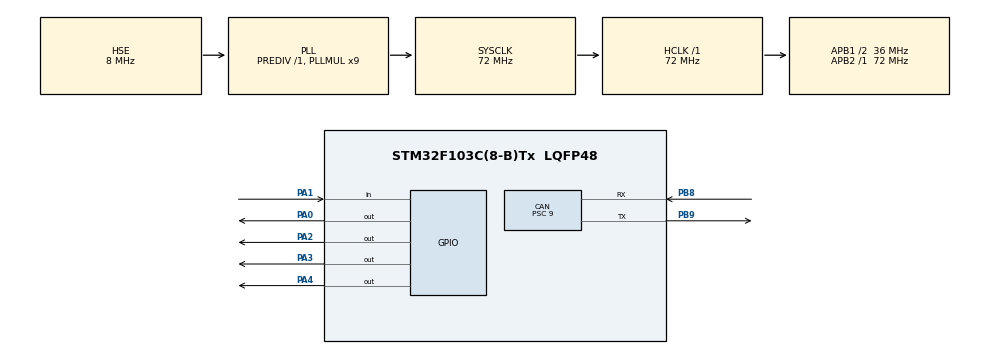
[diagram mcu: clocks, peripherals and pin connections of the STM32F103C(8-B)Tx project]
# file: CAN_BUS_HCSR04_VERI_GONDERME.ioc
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CAN.BS1=CAN_BS1_10TQ
CAN.BS2=CAN_BS2_5TQ
CAN.CalculateBaudRate=250000
CAN.CalculateTimeBit=4000
CAN.CalculateTimeQuantum=250.0
CAN.Prescaler=9
Mcu.Family=STM32F1
Mcu.Name=STM32F103C(8-B)Tx
Mcu.Package=LQFP48
NVIC.PriorityGroup=NVIC_PRIORITYGROUP_4
PA0-WKUP.Signal=GPIO_Output
PA1.Signal=GPIO_Input
PA13.Mode=Serial_Wire
PA13.Signal=SYS_JTMS-SWDIO
PA14.Mode=Serial_Wire
PA14.Signal=SYS_JTCK-SWCLK
PA2.Signal=GPIO_Output
PA3.Signal=GPIO_Output
PA4.Signal=GPIO_Output
PB8.Mode=CAN_Activate
PB8.Signal=CAN_RX
PB9.Mode=CAN_Activate
PB9.Signal=CAN_TX
PD0-OSC_IN.Mode=HSE-External-Oscillator
PD0-OSC_IN.Signal=RCC_OSC_IN
PD1-OSC_OUT.Mode=HSE-External-Oscillator
PD1-OSC_OUT.Signal=RCC_OSC_OUT
ProjectManager.HeapSize=0x200
ProjectManager.StackSize=0x400
ProjectManager.TargetToolchain=STM32CubeIDE
RCC.AHBFreq_Value=72000000
RCC.APB1CLKDivider=RCC_HCLK_DIV2
RCC.APB1Freq_Value=36000000
RCC.APB1TimFreq_Value=72000000
RCC.APB2Freq_Value=72000000
RCC.APB2TimFreq_Value=72000000
RCC.HCLKFreq_Value=72000000
RCC.PLLMUL=RCC_PLL_MUL9
RCC.PLLSourceVirtual=RCC_PLLSOURCE_HSE
RCC.SYSCLKFreq_VALUE=72000000
RCC.SYSCLKSource=RCC_SYSCLKSOURCE_PLLCLK
RCC.USBFreq_Value=72000000
board=custom

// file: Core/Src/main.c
/* USER CODE BEGIN Header */
/**
  ******************************************************************************
  * @file           : main.c
  * @brief          : Main program body
  ******************************************************************************
  * @attention
  *
  * Copyright (c) 2024 STMicroelectronics.
  * All rights reserved.
  *
  * This software is licensed under terms that can be found in the LICENSE file
  * in the root directory of this software component.
  * If no LICENSE file comes with this software, it is provided AS-IS.
  *
  ******************************************************************************
  */
/* USER CODE END Header */
#include "main.h"

/* USER CODE BEGIN Includes */
#include "dwt_stm32_delay.h"
/* USER CODE END Includes */

CAN_HandleTypeDef hcan;

/* USER CODE BEGIN PV */
uint32_t sensor_time;
uint32_t distance[2];

CAN_TxHeaderTypeDef pHeader;
uint32_t pTxMailbox;

CAN_FilterTypeDef sFilterConfig;
/* USER CODE END PV */

void SystemClock_Config(void);
static void MX_GPIO_Init(void);
static void MX_CAN_Init(void);

/* USER CODE BEGIN 0 */

uint32_t Read_HCSR04()
{
	uint32_t local_time=0;

	HAL_GPIO_WritePin(GPIOA, GPIO_PIN_0, GPIO_PIN_SET);
	DWT_Delay_us(10);
	HAL_GPIO_WritePin(GPIOA, GPIO_PIN_0, GPIO_PIN_RESET);

	while(!(HAL_GPIO_ReadPin(GPIOA, GPIO_PIN_1)));

	while(HAL_GPIO_ReadPin(GPIOA, GPIO_PIN_1))
	{
    local_time++;
    DWT_Delay_us(1);
	}

	return local_time * 2;

}

/* USER CODE END 0 */

int main(void)
{

  /* MCU Configuration--------------------------------------------------------*/

  /* Reset of all peripherals, Initializes the Flash interface and the Systick. */
  HAL_Init();

  /* Configure the system clock */
  SystemClock_Config();

  /* Initialize all configured peripherals */
  MX_GPIO_Init();
  MX_CAN_Init();
  /* USER CODE BEGIN 2 */
DWT_Delay_Init();

HAL_CAN_Start(&hcan);

pHeader.DLC=1;
pHeader.IDE=CAN_ID_STD;
pHeader.RTR=CAN_RTR_DATA;
pHeader.StdId=0x0130;

  sFilterConfig.FilterActivation=ENABLE;
  sFilterConfig.FilterBank=0;
  sFilterConfig.FilterFIFOAssignment=CAN_FILTER_FIFO0;
  sFilterConfig.FilterIdHigh=0;
  sFilterConfig.FilterIdLow=0;
  sFilterConfig.FilterMaskIdHigh=0;
  sFilterConfig.FilterMaskIdLow=0;
  sFilterConfig.FilterMode=CAN_FILTERMODE_IDMASK;
  sFilterConfig.FilterScale=CAN_FILTERSCALE_32BIT;

  HAL_CAN_ConfigFilter(&hcan, &sFilterConfig);

  /* USER CODE END 2 */

  /* Infinite loop */
  while (1)
  {

    /* USER CODE BEGIN 3 */

	  sensor_time=Read_HCSR04();
	  distance[0]= sensor_time * .034 /2;

	  HAL_CAN_AddTxMessage(&hcan, &pHeader, (uint8_t*)distance, &pTxMailbox);

	/*  if(distance[0]>0 && distance[0]<15)
	  {
		  HAL_GPIO_WritePin(GPIOA, GPIO_PIN_4, GPIO_PIN_SET);
		  HAL_GPIO_WritePin(GPIOA, GPIO_PIN_2, GPIO_PIN_RESET);
		  HAL_GPIO_WritePin(GPIOA, GPIO_PIN_3, GPIO_PIN_RESET);
	  }
	  else if(distance[0]>15 && distance[0]<25)
	  {
		  HAL_GPIO_WritePin(GPIOA, GPIO_PIN_4, GPIO_PIN_RESET);
			  HAL_GPIO_WritePin(GPIOA, GPIO_PIN_2, GPIO_PIN_SET);
			  HAL_GPIO_WritePin(GPIOA, GPIO_PIN_3, GPIO_PIN_RESET);

	   }else if(distance[0]>25 && distance[0]<40)
	   {
			  HAL_GPIO_WritePin(GPIOA, GPIO_PIN_4, GPIO_PIN_RESET);
				  HAL_GPIO_WritePin(GPIOA, GPIO_PIN_2, GPIO_PIN_RESET);
				  HAL_GPIO_WritePin(GPIOA, GPIO_PIN_3, GPIO_PIN_SET);
	   }

	   else{

		                  HAL_GPIO_WritePin(GPIOC, GPIO_PIN_13, GPIO_PIN_SET);
		 				  HAL_GPIO_WritePin(GPIOA, GPIO_PIN_2, GPIO_PIN_SET);
		 				  HAL_GPIO_WritePin(GPIOA, GPIO_PIN_3, GPIO_PIN_SET);
	   }*/

  }

  /* USER CODE END 3 */
}

void SystemClock_Config(void)
{
  RCC_OscInitTypeDef RCC_OscInitStruct = {0};
  RCC_ClkInitTypeDef RCC_ClkInitStruct = {0};

  /** Initializes the RCC Oscillators according to the specified parameters
  * in the RCC_OscInitTypeDef structure.
  */
  RCC_OscInitStruct.OscillatorType = RCC_OSCILLATORTYPE_HSE;
  RCC_OscInitStruct.HSEState = RCC_HSE_ON;
  RCC_OscInitStruct.HSEPredivValue = RCC_HSE_PREDIV_DIV1;
  RCC_OscInitStruct.HSIState = RCC_HSI_ON;
  RCC_OscInitStruct.PLL.PLLState = RCC_PLL_ON;
  RCC_OscInitStruct.PLL.PLLSource = RCC_PLLSOURCE_HSE;
  RCC_OscInitStruct.PLL.PLLMUL = RCC_PLL_MUL9;
  if (HAL_RCC_OscConfig(&RCC_OscInitStruct) != HAL_OK)
  {
    Error_Handler();
  }

  /** Initializes the CPU, AHB and APB buses clocks
  */
  RCC_ClkInitStruct.ClockType = RCC_CLOCKTYPE_HCLK|RCC_CLOCKTYPE_SYSCLK
                              |RCC_CLOCKTYPE_PCLK1|RCC_CLOCKTYPE_PCLK2;
  RCC_ClkInitStruct.SYSCLKSource = RCC_SYSCLKSOURCE_PLLCLK;
  RCC_ClkInitStruct.AHBCLKDivider = RCC_SYSCLK_DIV1;
  RCC_ClkInitStruct.APB1CLKDivider = RCC_HCLK_DIV2;
  RCC_ClkInitStruct.APB2CLKDivider = RCC_HCLK_DIV1;

  if (HAL_RCC_ClockConfig(&RCC_ClkInitStruct, FLASH_LATENCY_2) != HAL_OK)
  {
    Error_Handler();
  }
}

static void MX_CAN_Init(void)
{

  hcan.Instance = CAN1;
  hcan.Init.Prescaler = 9;
  hcan.Init.Mode = CAN_MODE_NORMAL;
  hcan.Init.SyncJumpWidth = CAN_SJW_1TQ;
  hcan.Init.TimeSeg1 = CAN_BS1_10TQ;
  hcan.Init.TimeSeg2 = CAN_BS2_5TQ;
  hcan.Init.TimeTriggeredMode = DISABLE;
  hcan.Init.AutoBusOff = DISABLE;
  hcan.Init.AutoWakeUp = DISABLE;
  hcan.Init.AutoRetransmission = DISABLE;
  hcan.Init.ReceiveFifoLocked = DISABLE;
  hcan.Init.TransmitFifoPriority = DISABLE;
  if (HAL_CAN_Init(&hcan) != HAL_OK)
  {
    Error_Handler();
  }

}

static void MX_GPIO_Init(void)
{
  GPIO_InitTypeDef GPIO_InitStruct = {0};

  /* GPIO Ports Clock Enable */
  __HAL_RCC_GPIOD_CLK_ENABLE();
  __HAL_RCC_GPIOA_CLK_ENABLE();
  __HAL_RCC_GPIOB_CLK_ENABLE();

  /*Configure GPIO pin Output Level */
  HAL_GPIO_WritePin(GPIOA, GPIO_PIN_0|GPIO_PIN_2|GPIO_PIN_3|GPIO_PIN_4, GPIO_PIN_RESET);

  /*Configure GPIO pins : PA0 PA2 PA3 PA4 */
  GPIO_InitStruct.Pin = GPIO_PIN_0|GPIO_PIN_2|GPIO_PIN_3|GPIO_PIN_4;
  GPIO_InitStruct.Mode = GPIO_MODE_OUTPUT_PP;
  GPIO_InitStruct.Pull = GPIO_NOPULL;
  GPIO_InitStruct.Speed = GPIO_SPEED_FREQ_LOW;
  HAL_GPIO_Init(GPIOA, &GPIO_InitStruct);

  /*Configure GPIO pin : PA1 */
  GPIO_InitStruct.Pin = GPIO_PIN_1;
  GPIO_InitStruct.Mode = GPIO_MODE_INPUT;
  GPIO_InitStruct.Pull = GPIO_NOPULL;
  HAL_GPIO_Init(GPIOA, &GPIO_InitStruct);

}

void Error_Handler(void)
{
  __disable_irq();
  while (1)
  {
  }
}
